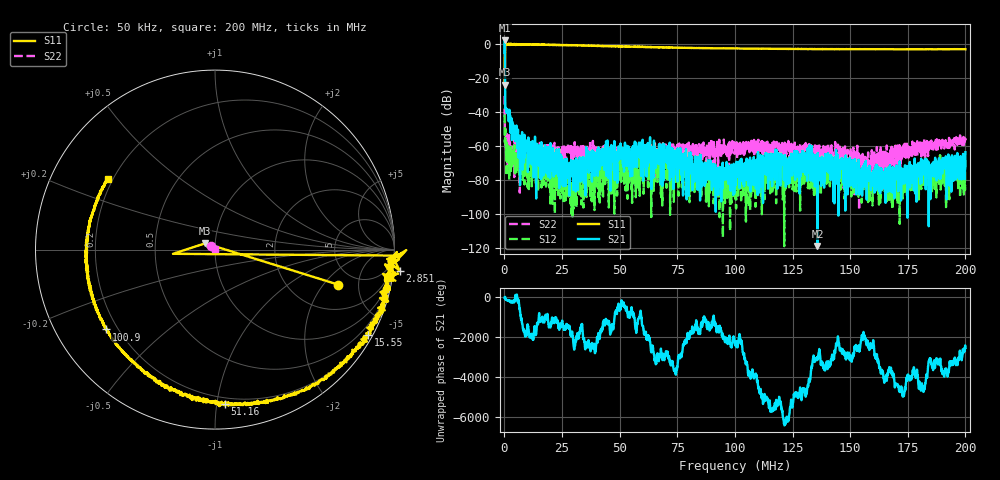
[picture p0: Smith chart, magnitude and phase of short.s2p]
! 23-Mar-26 11:49:44 AM
! E:\UPDATEDVNAMEASUREMENTS\CAL_S11S\SHORT.S2P
! CHANNEL.1
! TR.MEASUREMENT
! CORRECTED.DATA
# GHZ S RI R 50.0
! FREQ.GHZ  S11RE  S11IM  S21RE  S21IM  S12RE  S12IM  S22RE  S22IM
!; PortSelection: Port_12
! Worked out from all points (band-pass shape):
!   2000 points, 50 kHz to 200 MHz, reference 50 ohm
!   highest |S21| = 2.23 dB at 150 kHz (marker M1); lowest = -119.0 dB at 135.8 MHz (marker M2)
!   |S21| within 3 dB of the highest: 109.1 kHz to 164.4 kHz (55.3 kHz wide, 40.4 % of centre)
!   lowest |S11| = -23.8 dB at 150 kHz (marker M3), VSWR 1.14, Z = 44.8 + j3.17 ohm
!   |S11| at or under -10 dB: 83.84 kHz to 270.2 kHz (186.4 kHz wide, 105 % of centre)
!   |S22| runs from -97.7 to -30.5 dB; largest |S21 - S12| = 1.3
!   S11 on the Smith chart (normalised r, x): 50 kHz: 3.60, -2.86; 2.851 MHz: -5, -16; 15.55 MHz: 0.19, -3.86; 51.16 MHz: 0.16, -1.05; 100.9 MHz: 0.16, -0.32; 200 MHz: 0.18, +0.29
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5e-05  0.6862 -0.1951  0.429 -0.3542  -0.006 -0.00596  -0.0214 0.0209
0.000150025  -0.0539 0.0352  0.9299 -0.899  0.000767 0.00105  0.00165 -0.00192
0.001350325  0.986 -0.1051  -0.0113 -0.00393  0.000779 -0.000695  0.000186 0.000104
0.0028507  1.028 -0.117  -0.00183 0.0049  0.000675 0.000255  0.000848 -0.000277
0.007451851  0.9409 -0.2461  0.000464 -0.000471  -0.00051 -0.000101  0.000746 0.000566
0.01555388  0.854 -0.4734  -4.66e-05 -0.000494  3.5e-06 -0.000178  0.000303 4.75e-05
0.02595648  0.6439 -0.6907  0.00026 -0.000132  -5.23e-05 4.58e-05  0.000657 0.000701
0.03345835  0.4637 -0.7959  2.74e-05 0.000242  -4.64e-05 -2.9e-05  0.000551 0.000394
0.03625905  0.3926 -0.8201  -9.8e-05 0.00021  3.27e-05 -0.000132  0.000201 0.000338
0.05116278  0.0529 -0.8584  0.000849 -6.6e-05  0.000287 -2.62e-05  0.000535 0.00019
0.06676668  -0.2466 -0.7783  -0.00042 5.98e-05  0.00016 4.9e-05  0.000549 0.00021
0.08247061  -0.4481 -0.6301  -0.000156 3.4e-05  -2.48e-05 -3.6e-05  0.000589 0.000489
0.100075  -0.6024 -0.4505  -0.000137 -0.000149  -8.31e-05 4.3e-05  0.000656 0.000576
0.1008752  -0.6076 -0.4451  -0.000214 -5.44e-05  -0.000106 1.03e-05  0.00106 0.000679
0.1191798  -0.6908 -0.2512  0.00011 0.000279  -0.000149 -6.07e-05  0.000737 0.00041
0.1333833  -0.7096 -0.1115  -0.000928 -0.000349  2.16e-05 -0.000377  -8.66e-05 0.000635
0.1357839  -0.7155 -0.0875  -2e-07 1.1e-06  -6.7e-05 -9.43e-05  0.000211 0.000508
0.1501875  -0.7153 0.0393  0.00026 -0.000154  4.11e-05 -0.000189  -1.32e-05 0.000882
0.1666917  -0.6936 0.1721  4.14e-05 -1.87e-05  9.9e-06 -4.89e-05  0.000351 3.89e-05
0.1823956  -0.6517 0.2853  -0.000136 -2.64e-05  0.000162 0.000163  0.000835 -0.000718
0.1928982  -0.6252 0.3503  0.000342 -0.000195  9.86e-05 0.000129  0.0016 0.000655
0.2  -0.5947 0.3943  0.000617 -0.000221  -0.000199 0.000367  0.00133 0.000584
